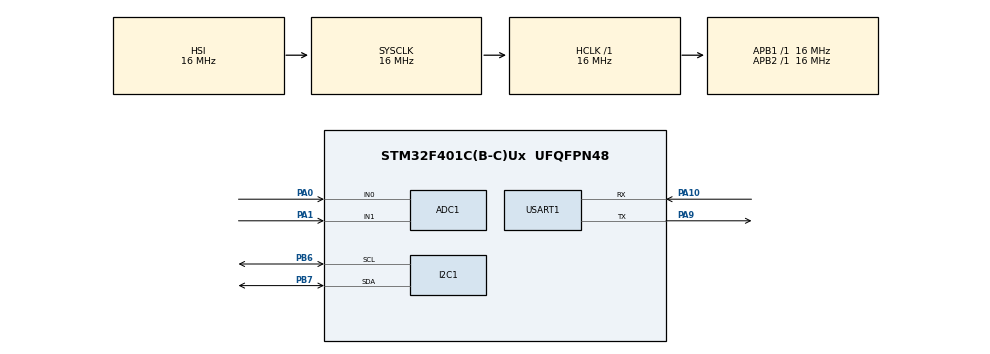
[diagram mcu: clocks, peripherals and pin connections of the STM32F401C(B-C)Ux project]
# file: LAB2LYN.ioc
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ADC1.Channel-1\#ChannelRegularConversion=ADC_CHANNEL_0
ADC1.NbrOfConversionFlag=1
ADC1.Rank-1\#ChannelRegularConversion=1
ADC1.SamplingTime-1\#ChannelRegularConversion=ADC_SAMPLETIME_3CYCLES
ADC1.master=1
Dma.ADC1.0.Direction=DMA_PERIPH_TO_MEMORY
Dma.ADC1.0.FIFOMode=DMA_FIFOMODE_DISABLE
Dma.ADC1.0.Instance=DMA2_Stream0
Dma.ADC1.0.MemDataAlignment=DMA_MDATAALIGN_HALFWORD
Dma.ADC1.0.MemInc=DMA_MINC_ENABLE
Dma.ADC1.0.Mode=DMA_CIRCULAR
Dma.ADC1.0.PeriphDataAlignment=DMA_PDATAALIGN_HALFWORD
Dma.ADC1.0.PeriphInc=DMA_PINC_DISABLE
Dma.ADC1.0.Priority=DMA_PRIORITY_LOW
Dma.Request0=ADC1
Mcu.Family=STM32F4
Mcu.Name=STM32F401C(B-C)Ux
Mcu.Package=UFQFPN48
NVIC.DMA2_Stream0_IRQn=true\:0\:0\:false\:false\:true\:false\:true\:true
NVIC.PriorityGroup=NVIC_PRIORITYGROUP_4
PA0-WKUP.Signal=ADCx_IN0
PA1.Signal=ADCx_IN1
PA10.Mode=Asynchronous
PA10.Signal=USART1_RX
PA13.Signal=SYS_JTMS-SWDIO
PA14.Signal=SYS_JTCK-SWCLK
PA9.Mode=Asynchronous
PA9.Signal=USART1_TX
PB6.Mode=I2C
PB6.Signal=I2C1_SCL
PB7.Mode=I2C
PB7.Signal=I2C1_SDA
ProjectManager.HeapSize=0x200
ProjectManager.StackSize=0x400
ProjectManager.TargetToolchain=CMake
RCC.AHBFreq_Value=16000000
RCC.APB1Freq_Value=16000000
RCC.APB2Freq_Value=16000000
RCC.CortexFreq_Value=16000000
RCC.HSE_VALUE=25000000
RCC.HSI_VALUE=16000000
RCC.LSE_VALUE=32768
RCC.SYSCLKFreq_VALUE=16000000
RCC.VCOOutputFreq_Value=192000000
SH.ADCx_IN0.0=ADC1_IN0,IN0
SH.ADCx_IN1.0=ADC1_IN1,IN1
USART1.VirtualMode=VM_ASYNC
board=custom

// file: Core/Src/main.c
/* USER CODE BEGIN Header */
/**
  ******************************************************************************
  * @file           : main.c
  * @brief          : Main program body
  ******************************************************************************
  * @attention
  *
  * Copyright (c) 2026 STMicroelectronics.
  * All rights reserved.
  *
  * This software is licensed under terms that can be found in the LICENSE file
  * in the root directory of this software component.
  * If no LICENSE file comes with this software, it is provided AS-IS.
  *
  ******************************************************************************
  */
/* USER CODE END Header */
#include "main.h"
#include "adc.h"
#include "dma.h"
#include "i2c.h"
#include "usart.h"
#include "gpio.h"

/* USER CODE BEGIN Includes */
#include <stdio.h>
#include <string.h>
#include <math.h>
#include "stdlib.h"
#include "uart.h"
#include "adc_x.h"
#include "MLX90614.h"
/* USER CODE END Includes */

/* USER CODE BEGIN PD */
#define FACTOR_DIVISOR   5.0f   // (R1+R2)/R2, debe ser >= 4.55 para 15 V
#define FORMATO_TELEPLOT 1
/* USER CODE END PD */

/* USER CODE BEGIN PV */
char    buffer[96];
float   voltaje;     // Potenciómetro en PA0
float   vin15;       // Divisor de voltaje 0-15 V en PA1
float   temp_obj;    // Temperatura del objeto (MLX90614), °C
float   temp_amb;    // Temperatura ambiente (MLX90614), °C
uint8_t mlx_ok;      // Flag de inicialización del MLX90614
/* USER CODE END PV */

void SystemClock_Config(void);

/* USER CODE BEGIN 0 */
static void UART_WriteText(UART_HandleTypeDef *huart, const char *txt)
{
  HAL_UART_Transmit(huart, (uint8_t *)txt, strlen(txt), 100);
}

static uint16_t ADC_ReadAvg(uint32_t channel)
{
  ADC_ChannelConfTypeDef sConfig = {0};
  sConfig.Channel      = channel;
  sConfig.Rank         = 1;
  sConfig.SamplingTime = ADC_SAMPLETIME_84CYCLES;
  HAL_ADC_ConfigChannel(&hadc1, &sConfig);

  uint32_t sum = 0;
  for (int i = 0; i < 16; i++)
  {
    HAL_ADC_Start(&hadc1);
    HAL_ADC_PollForConversion(&hadc1, 10);
    sum += HAL_ADC_GetValue(&hadc1);
    HAL_ADC_Stop(&hadc1);
  }
  return (uint16_t)(sum / 16);
}
/* USER CODE END 0 */

int main(void)
{

  /* MCU Configuration--------------------------------------------------------*/

  /* Reset of all peripherals, Initializes the Flash interface and the Systick. */
  HAL_Init();

  /* Configure the system clock */
  SystemClock_Config();

  /* Initialize all configured peripherals */
  MX_GPIO_Init();
  MX_DMA_Init();
  MX_ADC1_Init();
  MX_I2C1_Init();
  MX_USART1_UART_Init();
  /* USER CODE BEGIN 2 */
UART_WriteText(&huart1, "Iniciando laboratorio de Sistemas Embebidos\r\n");

mlx_ok = MLX90614_Init();
if (mlx_ok == 0)
  UART_WriteText(&huart1, "MLX90614 no inicializado correctamente\r\n");
else
  UART_WriteText(&huart1, "MLX90614 inicializado correctamente\r\n");
  /* USER CODE END 2 */

  /* Infinite loop */
  while (1)
  {

    /* USER CODE BEGIN 3 */
    // -- ADC: PA0 = potenciómetro, PA1 = divisor 0-15 V
    voltaje = ADC_ReadAvg(ADC_CHANNEL_0) * 3.3f / 4095.0f;
    vin15   = ADC_ReadAvg(ADC_CHANNEL_1) * 3.3f / 4095.0f * FACTOR_DIVISOR;

    // -- MLX90614 por I2C (en °C)
    temp_obj = (float)MLX90614_readObjectTempC();
    temp_amb = (float)MLX90614_readAmbientTempC();
    if (isnan(temp_obj)) temp_obj = -999.0f;   // -999 indica error de lectura
    if (isnan(temp_amb)) temp_amb = -999.0f;

    // -- Envío por USART1 (115200 baud)
#if FORMATO_TELEPLOT
    sprintf(buffer, ">Potenciometro:%.2f\r\n", voltaje);
    UART_WriteText(&huart1, buffer);
    sprintf(buffer, ">Voltaje15V:%.2f\r\n", vin15);
    UART_WriteText(&huart1, buffer);
    sprintf(buffer, ">TempObjeto:%.2f\r\n", temp_obj);
    UART_WriteText(&huart1, buffer);
    sprintf(buffer, ">TempAmbiente:%.2f\r\n", temp_amb);
    UART_WriteText(&huart1, buffer);
#else
    sprintf(buffer, "POT:%.2f,VIN:%.2f,TOBJ:%.2f,TAMB:%.2f\r\n",
            voltaje, vin15, temp_obj, temp_amb);
    UART_WriteText(&huart1, buffer);
#endif

    HAL_Delay(200);
  }
  /* USER CODE END 3 */
}

void SystemClock_Config(void)
{
  RCC_OscInitTypeDef RCC_OscInitStruct = {0};
  RCC_ClkInitTypeDef RCC_ClkInitStruct = {0};

  /** Configure the main internal regulator output voltage
  */
  __HAL_RCC_PWR_CLK_ENABLE();
  __HAL_PWR_VOLTAGESCALING_CONFIG(PWR_REGULATOR_VOLTAGE_SCALE2);

  /** Initializes the RCC Oscillators according to the specified parameters
  * in the RCC_OscInitTypeDef structure.
  */
  RCC_OscInitStruct.OscillatorType = RCC_OSCILLATORTYPE_HSI;
  RCC_OscInitStruct.HSIState = RCC_HSI_ON;
  RCC_OscInitStruct.HSICalibrationValue = RCC_HSICALIBRATION_DEFAULT;
  RCC_OscInitStruct.PLL.PLLState = RCC_PLL_NONE;
  if (HAL_RCC_OscConfig(&RCC_OscInitStruct) != HAL_OK)
  {
    Error_Handler();
  }

  /** Initializes the CPU, AHB and APB buses clocks
  */
  RCC_ClkInitStruct.ClockType = RCC_CLOCKTYPE_HCLK|RCC_CLOCKTYPE_SYSCLK
                              |RCC_CLOCKTYPE_PCLK1|RCC_CLOCKTYPE_PCLK2;
  RCC_ClkInitStruct.SYSCLKSource = RCC_SYSCLKSOURCE_HSI;
  RCC_ClkInitStruct.AHBCLKDivider = RCC_SYSCLK_DIV1;
  RCC_ClkInitStruct.APB1CLKDivider = RCC_HCLK_DIV1;
  RCC_ClkInitStruct.APB2CLKDivider = RCC_HCLK_DIV1;

  if (HAL_RCC_ClockConfig(&RCC_ClkInitStruct, FLASH_LATENCY_0) != HAL_OK)
  {
    Error_Handler();
  }
}

void Error_Handler(void)
{
  __disable_irq();
  while (1)
  {
  }
}
